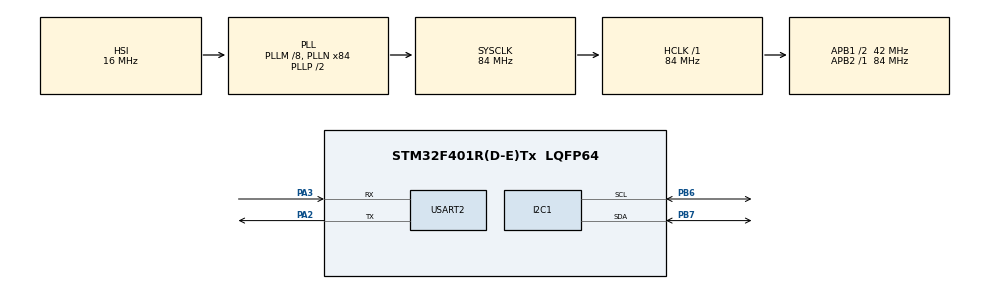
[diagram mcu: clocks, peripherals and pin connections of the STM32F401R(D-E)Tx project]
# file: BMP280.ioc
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I2C1.I2C_Mode=I2C_Standard
Mcu.Family=STM32F4
Mcu.Name=STM32F401R(D-E)Tx
Mcu.Package=LQFP64
NVIC.PriorityGroup=NVIC_PRIORITYGROUP_4
PA13.Mode=Serial_Wire
PA13.Signal=SYS_JTMS-SWDIO
PA14.Mode=Serial_Wire
PA14.Signal=SYS_JTCK-SWCLK
PA2.Mode=Asynchronous
PA2.Signal=USART2_TX
PA3.Mode=Asynchronous
PA3.Signal=USART2_RX
PB6.Mode=I2C
PB6.Signal=I2C1_SCL
PB7.Mode=I2C
PB7.Signal=I2C1_SDA
PC14-OSC32_IN.Mode=LSE-External-Oscillator
PC14-OSC32_IN.Signal=RCC_OSC32_IN
PC15-OSC32_OUT.Mode=LSE-External-Oscillator
PC15-OSC32_OUT.Signal=RCC_OSC32_OUT
PH0\ -\ OSC_IN.Mode=HSE-External-Oscillator
PH0\ -\ OSC_IN.Signal=RCC_OSC_IN
PH1\ -\ OSC_OUT.Mode=HSE-External-Oscillator
PH1\ -\ OSC_OUT.Signal=RCC_OSC_OUT
ProjectManager.HeapSize=0x200
ProjectManager.StackSize=0x400
ProjectManager.TargetToolchain=STM32CubeIDE
RCC.48MHZClocksFreq_Value=42000000
RCC.AHBFreq_Value=84000000
RCC.APB1CLKDivider=RCC_HCLK_DIV2
RCC.APB1Freq_Value=42000000
RCC.APB1TimFreq_Value=84000000
RCC.APB2Freq_Value=84000000
RCC.APB2TimFreq_Value=84000000
RCC.CortexFreq_Value=84000000
RCC.HCLKFreq_Value=84000000
RCC.HSE_VALUE=25000000
RCC.HSI_VALUE=16000000
RCC.PLLM=8
RCC.PLLN=84
RCC.SYSCLKFreq_VALUE=84000000
RCC.SYSCLKSource=RCC_SYSCLKSOURCE_PLLCLK
RCC.VCOOutputFreq_Value=168000000
USART2.VirtualMode=VM_ASYNC
board=custom

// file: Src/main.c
/* USER CODE BEGIN Header */
/**
  ******************************************************************************
  * @file           : main.c
  * @brief          : Main program body
  ******************************************************************************
  * @attention
  *
  * Copyright (c) 2022 STMicroelectronics.
  * All rights reserved.
  *
  * This software is licensed under terms that can be found in the LICENSE file
  * in the root directory of this software component.
  * If no LICENSE file comes with this software, it is provided AS-IS.
  *
  ******************************************************************************
  */
/* USER CODE END Header */
#include "main.h"

/* USER CODE BEGIN Includes */
#include <string.h>
#include <stdint.h>
#include <stdio.h>
#include "BMP280_STM32.h"
/* USER CODE END Includes */

I2C_HandleTypeDef hi2c1;

UART_HandleTypeDef huart2;

/* USER CODE BEGIN PV */
static const uint8_t BMP_ADDR = 0xEC; // Use 8-bit address --> 0x76<<1 = 0xEC
/* USER CODE END PV */

void SystemClock_Config(void);
static void MX_GPIO_Init(void);
static void MX_I2C1_Init(void);
static void MX_USART2_UART_Init(void);

/* USER CODE BEGIN 0 */
float Temperature, Pressure, Humidity;
/* USER CODE END 0 */

int main(void)
{

  /* MCU Configuration--------------------------------------------------------*/

  /* Reset of all peripherals, Initializes the Flash interface and the Systick. */
  HAL_Init();

  /* Configure the system clock */
  SystemClock_Config();

  /* Initialize all configured peripherals */
  MX_GPIO_Init();
  MX_I2C1_Init();
  MX_USART2_UART_Init();
  /* USER CODE BEGIN 2 */
  int ret = BMP280_Config(OSRS_16, OSRS_16, OSRS_OFF, MODE_NORMAL, T_SB_1000, IIR_16);
  HAL_Delay(500);

  char msg[255] = "Start up\n";
  HAL_UART_Transmit(&huart2, (uint8_t*)msg, strlen(msg), 50);
  if (ret>=0)
	  sprintf(msg, "BMP280 Configured %d\n", (int) ret);
  else
	  sprintf(msg, "BMP280 Not Configured %d\n", (int) ret);
  HAL_UART_Transmit(&huart2, (uint8_t*)msg, strlen(msg), 50);

  /* USER CODE END 2 */

  /* Infinite loop */
  while (1)
  {
	  BMP280_Measure();
	  HAL_Delay(500);
	  char data[255] = "";
	  sprintf(data, "Pressure: %2.1f Temperature: %2.1f C \n\n", (float)Pressure, (float)Temperature);
	  HAL_UART_Transmit(&huart2, (uint8_t*)data, strlen(data), 0xFFFF);
	  HAL_Delay(100);

  }
}

void SystemClock_Config(void)
{
  RCC_OscInitTypeDef RCC_OscInitStruct = {0};
  RCC_ClkInitTypeDef RCC_ClkInitStruct = {0};

  /** Configure the main internal regulator output voltage
  */
  __HAL_RCC_PWR_CLK_ENABLE();
  __HAL_PWR_VOLTAGESCALING_CONFIG(PWR_REGULATOR_VOLTAGE_SCALE2);

  /** Initializes the RCC Oscillators according to the specified parameters
  * in the RCC_OscInitTypeDef structure.
  */
  RCC_OscInitStruct.OscillatorType = RCC_OSCILLATORTYPE_HSI;
  RCC_OscInitStruct.HSIState = RCC_HSI_ON;
  RCC_OscInitStruct.HSICalibrationValue = RCC_HSICALIBRATION_DEFAULT;
  RCC_OscInitStruct.PLL.PLLState = RCC_PLL_ON;
  RCC_OscInitStruct.PLL.PLLSource = RCC_PLLSOURCE_HSI;
  RCC_OscInitStruct.PLL.PLLM = 8;
  RCC_OscInitStruct.PLL.PLLN = 84;
  RCC_OscInitStruct.PLL.PLLP = RCC_PLLP_DIV2;
  RCC_OscInitStruct.PLL.PLLQ = 4;
  if (HAL_RCC_OscConfig(&RCC_OscInitStruct) != HAL_OK)
  {
    Error_Handler();
  }

  /** Initializes the CPU, AHB and APB buses clocks
  */
  RCC_ClkInitStruct.ClockType = RCC_CLOCKTYPE_HCLK|RCC_CLOCKTYPE_SYSCLK
                              |RCC_CLOCKTYPE_PCLK1|RCC_CLOCKTYPE_PCLK2;
  RCC_ClkInitStruct.SYSCLKSource = RCC_SYSCLKSOURCE_PLLCLK;
  RCC_ClkInitStruct.AHBCLKDivider = RCC_SYSCLK_DIV1;
  RCC_ClkInitStruct.APB1CLKDivider = RCC_HCLK_DIV2;
  RCC_ClkInitStruct.APB2CLKDivider = RCC_HCLK_DIV1;

  if (HAL_RCC_ClockConfig(&RCC_ClkInitStruct, FLASH_LATENCY_2) != HAL_OK)
  {
    Error_Handler();
  }
}

static void MX_I2C1_Init(void)
{

  hi2c1.Instance = I2C1;
  hi2c1.Init.ClockSpeed = 100000;
  hi2c1.Init.DutyCycle = I2C_DUTYCYCLE_2;
  hi2c1.Init.OwnAddress1 = 0;
  hi2c1.Init.AddressingMode = I2C_ADDRESSINGMODE_7BIT;
  hi2c1.Init.DualAddressMode = I2C_DUALADDRESS_DISABLE;
  hi2c1.Init.OwnAddress2 = 0;
  hi2c1.Init.GeneralCallMode = I2C_GENERALCALL_DISABLE;
  hi2c1.Init.NoStretchMode = I2C_NOSTRETCH_DISABLE;
  if (HAL_I2C_Init(&hi2c1) != HAL_OK)
  {
    Error_Handler();
  }

}

static void MX_USART2_UART_Init(void)
{

  huart2.Instance = USART2;
  huart2.Init.BaudRate = 115200;
  huart2.Init.WordLength = UART_WORDLENGTH_8B;
  huart2.Init.StopBits = UART_STOPBITS_1;
  huart2.Init.Parity = UART_PARITY_NONE;
  huart2.Init.Mode = UART_MODE_TX_RX;
  huart2.Init.HwFlowCtl = UART_HWCONTROL_NONE;
  huart2.Init.OverSampling = UART_OVERSAMPLING_16;
  if (HAL_UART_Init(&huart2) != HAL_OK)
  {
    Error_Handler();
  }

}

static void MX_GPIO_Init(void)
{

  /* GPIO Ports Clock Enable */
  __HAL_RCC_GPIOC_CLK_ENABLE();
  __HAL_RCC_GPIOH_CLK_ENABLE();
  __HAL_RCC_GPIOA_CLK_ENABLE();
  __HAL_RCC_GPIOB_CLK_ENABLE();

}

void Error_Handler(void)
{
  __disable_irq();
  while (1)
  {
  }
}
